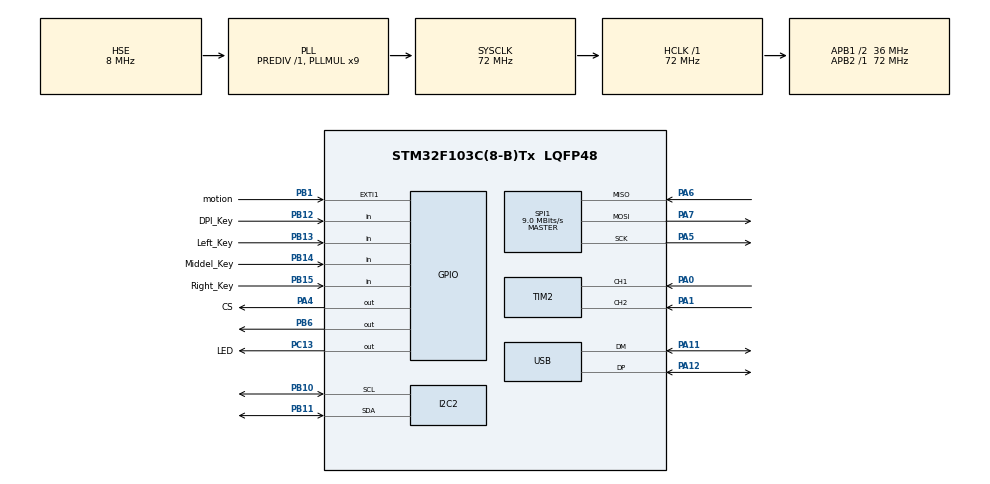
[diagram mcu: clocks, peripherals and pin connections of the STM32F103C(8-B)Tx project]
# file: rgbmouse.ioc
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I2C2.I2C_Mode=I2C_Fast
I2C2.NoStretchMode=I2C_NOSTRETCH_DISABLE
Mcu.Family=STM32F1
Mcu.Name=STM32F103C(8-B)Tx
Mcu.Package=LQFP48
NVIC.EXTI1_IRQn=true\:1\:0\:true\:false\:true\:true\:true\:true
NVIC.PriorityGroup=NVIC_PRIORITYGROUP_4
NVIC.TIM3_IRQn=true\:0\:0\:false\:false\:true\:true\:true\:true
NVIC.USB_LP_CAN1_RX0_IRQn=true\:0\:0\:false\:false\:true\:false\:true\:true
PA0-WKUP.GPIO_PuPd=GPIO_PULLUP
PA0-WKUP.Signal=S_TIM2_CH1_ETR
PA1.GPIO_PuPd=GPIO_PULLUP
PA1.Signal=S_TIM2_CH2
PA11.Mode=Device
PA11.Signal=USB_DM
PA12.Mode=Device
PA12.Signal=USB_DP
PA13.Mode=Serial_Wire
PA13.Signal=SYS_JTMS-SWDIO
PA14.Mode=Serial_Wire
PA14.Signal=SYS_JTCK-SWCLK
PA4.GPIO_Label=CS
PA4.GPIO_PuPd=GPIO_PULLDOWN
PA4.Signal=GPIO_Output
PA5.Mode=Full_Duplex_Master
PA5.Signal=SPI1_SCK
PA6.Mode=Full_Duplex_Master
PA6.Signal=SPI1_MISO
PA7.Mode=Full_Duplex_Master
PA7.Signal=SPI1_MOSI
PB1.GPIO_Label=motion
PB1.GPIO_ModeDefaultEXTI=GPIO_MODE_IT_FALLING
PB1.GPIO_PuPd=GPIO_PULLUP
PB1.Signal=GPXTI1
PB10.Mode=I2C
PB10.Signal=I2C2_SCL
PB11.Mode=I2C
PB11.Signal=I2C2_SDA
PB12.GPIO_Label=DPI_Key
PB12.GPIO_PuPd=GPIO_PULLUP
PB12.Signal=GPIO_Input
PB13.GPIO_Label=Left_Key
PB13.GPIO_PuPd=GPIO_PULLUP
PB13.Signal=GPIO_Input
PB14.GPIO_Label=Middel_Key
PB14.GPIO_PuPd=GPIO_PULLUP
PB14.Signal=GPIO_Input
PB15.GPIO_Label=Right_Key
PB15.GPIO_PuPd=GPIO_PULLUP
PB15.Signal=GPIO_Input
PB6.GPIO_Speed=GPIO_SPEED_FREQ_HIGH
PB6.Signal=GPIO_Output
PC13-TAMPER-RTC.GPIO_Label=LED
PC13-TAMPER-RTC.PinState=GPIO_PIN_SET
PC13-TAMPER-RTC.Signal=GPIO_Output
PD0-OSC_IN.Mode=HSE-External-Oscillator
PD0-OSC_IN.Signal=RCC_OSC_IN
PD1-OSC_OUT.Mode=HSE-External-Oscillator
PD1-OSC_OUT.Signal=RCC_OSC_OUT
ProjectManager.HeapSize=0x200
ProjectManager.StackSize=0x400
ProjectManager.TargetToolchain=MDK-ARM V5.32
RCC.AHBFreq_Value=72000000
RCC.APB1CLKDivider=RCC_HCLK_DIV2
RCC.APB1Freq_Value=36000000
RCC.APB1TimFreq_Value=72000000
RCC.APB2Freq_Value=72000000
RCC.APB2TimFreq_Value=72000000
RCC.HCLKFreq_Value=72000000
RCC.PLLMUL=RCC_PLL_MUL9
RCC.SYSCLKFreq_VALUE=72000000
RCC.SYSCLKSource=RCC_SYSCLKSOURCE_PLLCLK
RCC.USBFreq_Value=48000000
RCC.USBPrescaler=RCC_USBCLKSOURCE_PLL_DIV1_5
SH.S_TIM2_CH1_ETR.0=TIM2_CH1,Encoder_Interface
SH.S_TIM2_CH2.0=TIM2_CH2,Encoder_Interface
SPI1.BaudRatePrescaler=SPI_BAUDRATEPRESCALER_8
SPI1.CLKPhase=SPI_PHASE_2EDGE
SPI1.CLKPolarity=SPI_POLARITY_HIGH
SPI1.CRCCalculation=SPI_CRCCALCULATION_ENABLE
SPI1.CalculateBaudRate=9.0 MBits/s
SPI1.Direction=SPI_DIRECTION_2LINES
SPI1.Mode=SPI_MODE_MASTER
SPI1.VirtualType=VM_MASTER
TIM2.EncoderMode=TIM_ENCODERMODE_TI12
TIM3.Period=1000-1
TIM3.Prescaler=72-1
TIM4.AutoReloadPreload=TIM_AUTORELOAD_PRELOAD_ENABLE
TIM4.Period=89
USB_DEVICE.CLASS_NAME_FS=HID
USB_DEVICE.HID_FS_BINTERVAL=0x1
USB_DEVICE.VirtualMode=Hid
USB_DEVICE.VirtualModeFS=Hid_FS
VP_TIM3_VS_ClockSourceINT.Mode=Internal
VP_TIM4_VS_ClockSourceINT.Mode=Internal
VP_USB_DEVICE_VS_USB_DEVICE_HID_FS.Mode=HID_FS
board=custom

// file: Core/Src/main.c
/* USER CODE BEGIN Header */
/**
  ******************************************************************************
  * @file           : main.c
  * @brief          : Main program body
  ******************************************************************************
  * @attention
  *
  * Copyright (c) 2024 STMicroelectronics.
  * All rights reserved.
  *
  * This software is licensed under terms that can be found in the LICENSE file
  * in the root directory of this software component.
  * If no LICENSE file comes with this software, it is provided AS-IS.
  *
  ******************************************************************************
  */
/* USER CODE END Header */
#include "main.h"
#include "i2c.h"
#include "spi.h"
#include "tim.h"
#include "usb_device.h"
#include "gpio.h"

/* USER CODE BEGIN Includes */
#include "usbd_hid.h"
#include "delay.h"
#include "PAW3395.h"
#include "myMouse.h"
#include "OLED.h"
/* USER CODE END Includes */

/* USER CODE BEGIN PTD */

#define TASKNUM_MAX	5  // 修改为5，新增RGB任务

typedef struct{
	void (*pTask)(void);    //任务函数
	uint16_t TaskPeriod;    //倒计时频率
}TaskStruct;

typedef enum KEY{
	Left_Key = 1,
	Right_Key,
	Middel_Key,
	DPI_Key
}KEY;

/* USER CODE END PTD */

/* USER CODE BEGIN PD */
uint8_t Key_Read(void);
void Task_Init(void);
void Task_Run(void);
void Key_Task(void);
void Mouse_XY_Updata(void);
void Mouse_wheel_Updata(void);
void Show_Task(void);
void LED_Task(void);
void RGB_Task(void); // 新增RGB炫彩任务声明
/* USER CODE END PD */

/* USER CODE BEGIN PV */
uint8_t Key_Value;
uint8_t Key_Down;
uint8_t Key_UP;
uint8_t Key_Old;

uint8_t Left_Key_Value = 0;
uint8_t Right_Key_Value = 0;
uint8_t Middel_Key_Value = 0;

int8_t wheel_num;

struct mouseHID_t mouseHID;
uint8_t motion_burst_data[12] = {0};
int16_t X_Speed,Y_Speed;
uint16_t DPI = 1500;    //初始DPI数值

uint32_t SYS_tick_ms;

uint8_t led_flag = 0;
uint8_t Key_cnt = 0;

// --- WS2812B 相关变量配置 ---
#define LED_NUM 8
uint16_t RGB_DMA_Buffer[(24 * LED_NUM) + 50] = {0}; // DMA发送缓冲区
uint8_t rgb_offset = 0; // 颜色偏移量，用于实现流动效果

uint16_t TaskTimer[TASKNUM_MAX];
TaskStruct Task[] = {
	{Key_Task, 20},
	{Mouse_XY_Updata, 1},
	{Mouse_wheel_Updata, 5},
    {LED_Task, 100},
    {RGB_Task, 30}  // 每30ms刷新一次灯光颜色
};

/* USER CODE END PV */

void SystemClock_Config(void);

/* USER CODE BEGIN 0 */

/****************************** 定时器中断回调函数 *********************************/
void HAL_TIM_PeriodElapsedCallback(TIM_HandleTypeDef *hitm)
{
	uint8_t i;

    // 系统毫秒计数
	SYS_tick_ms++;

	for(i = 0; i < TASKNUM_MAX; i++){
		if(TaskTimer[i])
			TaskTimer[i]--;
	}
}

/****************************** 任务调度初始化 *********************************/
void Task_Init(void)
{
	uint8_t NTask;
	for(NTask = 0; NTask < sizeof(Task)/sizeof(Task[0]); NTask++){
		TaskTimer[NTask] = Task[NTask].TaskPeriod;
	}
}

void Task_Run(void)
{
	uint8_t NTask;
	for(NTask = 0; NTask < sizeof(Task)/sizeof(Task[0]); NTask++){
		if(TaskTimer[NTask] == 0)
		{
			TaskTimer[NTask] = Task[NTask].TaskPeriod;
			(Task[NTask].pTask)();
		}
	}
}

/****************************** WS2812B 炫彩逻辑 *********************************/

// 彩虹颜色生成算法：输入0-255，输出对应RGB颜色
uint32_t Wheel(uint8_t WheelPos) {
    WheelPos = 255 - WheelPos;
    if(WheelPos < 85) {
        return ((255 - WheelPos * 3) << 16) | (0 << 8) | (WheelPos * 3);
    }
    if(WheelPos < 170) {
        WheelPos -= 85;
        return (0 << 16) | ((WheelPos * 3) << 8) | (255 - WheelPos * 3);
    }
    WheelPos -= 170;
    return ((WheelPos * 3) << 16) | ((255 - WheelPos * 3) << 8) | 0;
}

// RGB 炫彩刷新任务
void RGB_Task(void) {
    uint32_t color;
    uint8_t r, g, b;
    uint16_t idx = 0;

    // 基于 72MHz, ARR=89 的 PWM 占空比定义
    const uint16_t WS_HIGH = 60;
    const uint16_t WS_LOW  = 28;

    for(int i = 0; i < LED_NUM; i++) {
        // 计算每个灯珠的颜色，i*32 产生颜色差，形成流动感
        color = Wheel((rgb_offset + i * 32) & 255);

        // 亮度缩减：除以 5，避免电流过大导致鼠标掉线
        g = ((color >> 16) & 0xFF) / 5;
        r = ((color >> 8)  & 0xFF) / 5;
        b = (color & 0xFF) / 5;

        uint32_t grb = (g << 16) | (r << 8) | b;

        // 将 24位颜色转为 PWM 占空比填入缓冲区
        for (int j = 23; j >= 0; j--) {
            RGB_DMA_Buffer[idx++] = (grb & (1 << j)) ? WS_HIGH : WS_LOW;
        }
    }

    // 启动 DMA 发送 (PB6 对应 TIM4 CH1)
    HAL_TIM_PWM_Start_DMA(&htim4, TIM_CHANNEL_1, (uint32_t *)RGB_DMA_Buffer, (24 * LED_NUM) + 50);

    // 更新偏移，控制流水速度
    rgb_offset += 3;
}

/****************************** 鼠标业务逻辑 *********************************/
// 按键处理任务
void Key_Task(void)
{
	Key_Value = Key_Read();
	Key_Down = Key_Value&(Key_Old^Key_Value);
	Key_UP = ~Key_Value&(Key_Old^Key_Value);
	Key_Old = Key_Value;

	switch(Key_Down)
	{
		case Left_Key:   Left_Key_Value = 1;  break;
		case Right_Key:  Right_Key_Value = 1; break;
		case Middel_Key: Middel_Key_Value = 1; break;
	}

	switch(Key_UP)
	{
		case Left_Key:   Left_Key_Value = 0;  break;
		case Right_Key:  Right_Key_Value = 0; break;
		case Middel_Key: Middel_Key_Value = 0; break;
	}

	if(Key_Down == DPI_Key)
	{
		DPI += 500;
		if(DPI > 3000) DPI = 500;
		DPI_Config(DPI);
        led_flag = 1;
        Key_cnt++;
	}
}

// DPI 指示灯闪烁任务
void LED_Task(void)
{
    static uint32_t LED_tick_ms;
    static uint8_t blink_cnt;

    if(led_flag == 1)
    {
        if(SYS_tick_ms - LED_tick_ms >= 500)
        {
            LED_tick_ms = SYS_tick_ms;
            HAL_GPIO_TogglePin(LED_GPIO_Port, LED_Pin);
            blink_cnt++;
            if(blink_cnt == 6)
            {
                Key_cnt--;
                blink_cnt = 0;
                HAL_GPIO_WritePin(LED_GPIO_Port, LED_Pin, GPIO_PIN_SET);
            }
            if(Key_cnt == 0) led_flag = 0;
        }
    }
}

// 鼠标坐标更新
void Mouse_XY_Updata(void)
{
	Motion_Burst(motion_burst_data);
	X_Speed = (int16_t)(motion_burst_data[2] + (motion_burst_data[3] << 8));
	Y_Speed = (int16_t)(motion_burst_data[4] + (motion_burst_data[5] << 8));
	myMouse_update(&mouseHID);
}

// 滚轮更新
void Mouse_wheel_Updata(void)
{
	if((int16_t)__HAL_TIM_GET_COUNTER(&htim2) > 0)
		wheel_num = 0xFF;
	else if((int16_t)__HAL_TIM_GET_COUNTER(&htim2) < 0)
		wheel_num = 0x01;
	else
		wheel_num = 0x80;

	TIM2->CNT=0;
}

uint8_t Key_Read(void)
{
	if(HAL_GPIO_ReadPin(GPIOB, Left_Key_Pin) == 0) return Left_Key;
	if(HAL_GPIO_ReadPin(GPIOB, Right_Key_Pin) == 0) return Right_Key;
	if(HAL_GPIO_ReadPin(GPIOB, Middel_Key_Pin) == 0) return Middel_Key;
	if(HAL_GPIO_ReadPin(GPIOB, DPI_Key_Pin) == 0) return DPI_Key;
	return 0;
}

/* USER CODE END 0 */

int main(void)
{
  /* MCU Configuration--------------------------------------------------------*/
  HAL_Init();
  SystemClock_Config();

  /* Initialize all configured peripherals */
  MX_GPIO_Init();
  MX_USB_DEVICE_Init();
  MX_SPI1_Init();
  MX_TIM3_Init();
  MX_TIM2_Init();
  MX_I2C2_Init();
  MX_TIM4_Init(); // 初始化 TIM4

  /* USER CODE BEGIN 2 */
  delay_init(72);
  __HAL_SPI_ENABLE(&hspi1);
  HAL_Delay(100);

  Power_up_sequence();
  myMouse_init(&mouseHID);
  DPI_Config(DPI);

  __HAL_TIM_CLEAR_IT(&htim3,TIM_IT_UPDATE );
  HAL_TIM_Base_Start_IT(&htim3);

  HAL_TIM_Encoder_Start(&htim2, TIM_CHANNEL_ALL);

  Task_Init();
  /* USER CODE END 2 */

  /* Infinite loop */
  /* USER CODE BEGIN WHILE */
  while (1)
  {
		Task_Run();
    /* USER CODE END WHILE */

  }
}

void SystemClock_Config(void)
{
  RCC_OscInitTypeDef RCC_OscInitStruct = {0};
  RCC_ClkInitTypeDef RCC_ClkInitStruct = {0};
  RCC_PeriphCLKInitTypeDef PeriphClkInit = {0};

  RCC_OscInitStruct.OscillatorType = RCC_OSCILLATORTYPE_HSE;
  RCC_OscInitStruct.HSEState = RCC_HSE_ON;
  RCC_OscInitStruct.HSEPredivValue = RCC_HSE_PREDIV_DIV1;
  RCC_OscInitStruct.HSIState = RCC_HSI_ON;
  RCC_OscInitStruct.PLL.PLLState = RCC_PLL_ON;
  RCC_OscInitStruct.PLL.PLLSource = RCC_PLLSOURCE_HSE;
  RCC_OscInitStruct.PLL.PLLMUL = RCC_PLL_MUL9;
  if (HAL_RCC_OscConfig(&RCC_OscInitStruct) != HAL_OK)
  {
    Error_Handler();
  }

  RCC_ClkInitStruct.ClockType = RCC_CLOCKTYPE_HCLK|RCC_CLOCKTYPE_SYSCLK
                              |RCC_CLOCKTYPE_PCLK1|RCC_CLOCKTYPE_PCLK2;
  RCC_ClkInitStruct.SYSCLKSource = RCC_SYSCLKSOURCE_PLLCLK;
  RCC_ClkInitStruct.AHBCLKDivider = RCC_SYSCLK_DIV1;
  RCC_ClkInitStruct.APB1CLKDivider = RCC_HCLK_DIV2;
  RCC_ClkInitStruct.APB2CLKDivider = RCC_HCLK_DIV1;

  if (HAL_RCC_ClockConfig(&RCC_ClkInitStruct, FLASH_LATENCY_2) != HAL_OK)
  {
    Error_Handler();
  }
  PeriphClkInit.PeriphClockSelection = RCC_PERIPHCLK_USB;
  PeriphClkInit.UsbClockSelection = RCC_USBCLKSOURCE_PLL_DIV1_5;
  if (HAL_RCCEx_PeriphCLKConfig(&PeriphClkInit) != HAL_OK)
  {
    Error_Handler();
  }
}

void Error_Handler(void)
{
  __disable_irq();
  while (1)
  {
  }
}
